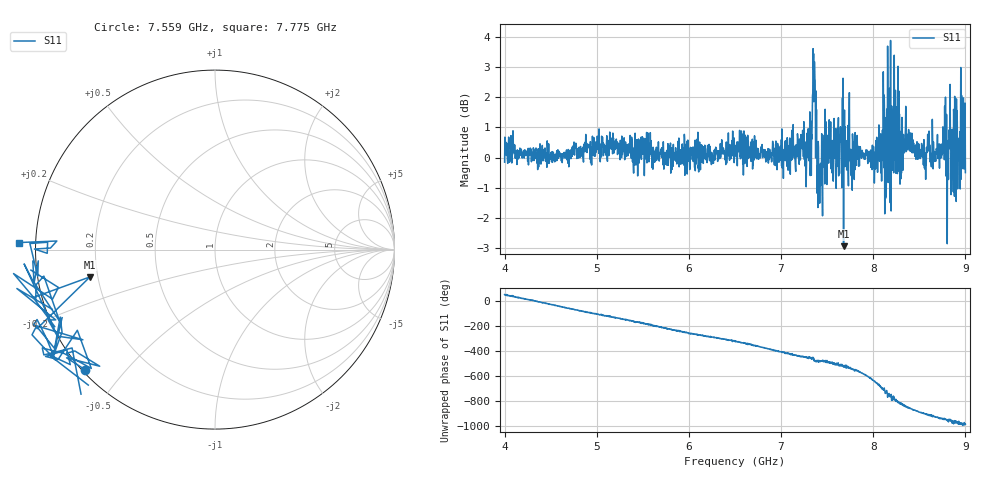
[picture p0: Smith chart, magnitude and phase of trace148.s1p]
! Created with skrf 1.8.0 (http://scikit-rf.org).
# Hz S RI R 50.0
!freq ReS11 ImS11
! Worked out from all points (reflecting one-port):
!   1601 points, 4 GHz to 9 GHz, reference 50 ohm
!   lowest |S11| = -2.9 dB at 7.678 GHz (marker M1), VSWR 5.96, Z = 8.48 - j5.24 ohm
!   phase of S11 starts at 53 deg and turns -1037 deg over the sweep
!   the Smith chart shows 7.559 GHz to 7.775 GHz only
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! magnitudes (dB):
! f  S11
! 4 GHz  -0.2
! 4.625 GHz  -0.2
! 5.25 GHz  0.2
! 5.875 GHz  0.1
! 6.5 GHz  0.3
! 7.125 GHz  0.5
! 7.294 GHz  1.0
! 7.359 GHz  2.0
! 7.412 GHz  -0.6
! 7.503 GHz  -0.1
! 7.678 GHz  -2.9
! 7.75 GHz  -0.1
! 8.066 GHz  0.0
! 8.134 GHz  -1.4
! 8.15 GHz  -0.2
! 8.162 GHz  -0.8
! 8.188 GHz  3.9
! 8.253 GHz  1.0
! 8.312 GHz  1.3
! 8.375 GHz  0.5
! 8.556 GHz  -0.4
! 8.728 GHz  0.3
! 8.772 GHz  -0.1
! 8.825 GHz  0.9
! 8.834 GHz  2.4
! 8.919 GHz  -0.2
! 8.972 GHz  0.4
! 9 GHz  -0.5
